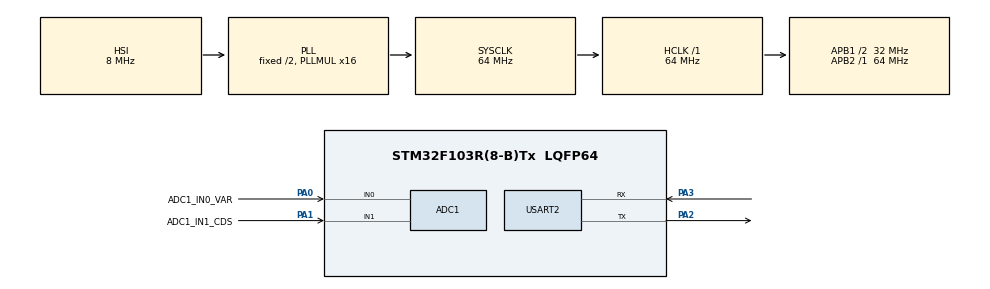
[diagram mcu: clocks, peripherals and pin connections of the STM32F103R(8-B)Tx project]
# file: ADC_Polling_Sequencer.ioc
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ADC1.Channel-0\#ChannelRegularConversion=ADC_CHANNEL_0
ADC1.Channel-1\#ChannelRegularConversion=ADC_CHANNEL_0
ADC1.ContinuousConvMode=ENABLE
ADC1.NbrOfConversion=2
ADC1.NbrOfConversionFlag=1
ADC1.Rank-0\#ChannelRegularConversion=1
ADC1.Rank-1\#ChannelRegularConversion=2
ADC1.SamplingTime-0\#ChannelRegularConversion=ADC_SAMPLETIME_13CYCLES_5
ADC1.SamplingTime-1\#ChannelRegularConversion=ADC_SAMPLETIME_13CYCLES_5
ADC1.master=1
Mcu.Family=STM32F1
Mcu.Name=STM32F103R(8-B)Tx
Mcu.Package=LQFP64
NVIC.PriorityGroup=NVIC_PRIORITYGROUP_4
PA0-WKUP.GPIO_Label=ADC1_IN0_VAR
PA0-WKUP.Signal=ADCx_IN0
PA1.GPIO_Label=ADC1_IN1_CDS
PA1.Signal=ADCx_IN1
PA13.Mode=Serial_Wire
PA13.Signal=SYS_JTMS-SWDIO
PA14.Mode=Serial_Wire
PA14.Signal=SYS_JTCK-SWCLK
PA2.Mode=Asynchronous
PA2.Signal=USART2_TX
PA3.Mode=Asynchronous
PA3.Signal=USART2_RX
ProjectManager.HeapSize=0x200
ProjectManager.StackSize=0x400
ProjectManager.TargetToolchain=STM32CubeIDE
RCC.ADCPresc=RCC_ADCPCLK2_DIV8
RCC.AHBFreq_Value=64000000
RCC.APB1CLKDivider=RCC_HCLK_DIV2
RCC.APB1Freq_Value=32000000
RCC.APB1TimFreq_Value=64000000
RCC.APB2Freq_Value=64000000
RCC.APB2TimFreq_Value=64000000
RCC.HCLKFreq_Value=64000000
RCC.PLLMUL=RCC_PLL_MUL16
RCC.SYSCLKFreq_VALUE=64000000
RCC.SYSCLKSource=RCC_SYSCLKSOURCE_PLLCLK
RCC.USBFreq_Value=64000000
SH.ADCx_IN0.0=ADC1_IN0,IN0
SH.ADCx_IN1.0=ADC1_IN1,IN1
USART2.VirtualMode=VM_ASYNC
board=custom

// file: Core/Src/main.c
/* USER CODE BEGIN Header */
/**
  ******************************************************************************
  * @file           : main.c
  * @brief          : Main program body
  ******************************************************************************
  * @attention
  *
  * <h2><center>&copy; Copyright (c) 2021 STMicroelectronics.
  * All rights reserved.</center></h2>
  *
  * This software component is licensed by ST under BSD 3-Clause license,
  * the "License"; You may not use this file except in compliance with the
  * License. You may obtain a copy of the License at:
  *                        opensource.org/licenses/BSD-3-Clause
  *
  ******************************************************************************
  */
/* USER CODE END Header */
#include "main.h"
#include <stdio.h>

ADC_HandleTypeDef hadc1;

UART_HandleTypeDef huart2;

void SystemClock_Config(void);
static void MX_GPIO_Init(void);
static void MX_ADC1_Init(void);
static void MX_USART2_UART_Init(void);

/* USER CODE BEGIN 0 */
#ifdef __GNUC__
#define PUTCHAR_PROTOTYPE int __io_putchar(int ch)
#else
#define PUTCHAR_PROTOTYPE int fputc(int ch,FILE *f)
#endif

PUTCHAR_PROTOTYPE
{
	if (ch == '\n')
		HAL_UART_Transmit (&huart2, (uint8_t*) "\r", 1, 0xFFFF);
	HAL_UART_Transmit (&huart2, (uint8_t*) &ch, 1, 0xFFFF);
	return ch;
}
/* USER CODE END 0 */

int main(void)
{

  /* MCU Configuration--------------------------------------------------------*/

  /* Reset of all peripherals, Initializes the Flash interface and the Systick. */
  HAL_Init();

  /* Configure the system clock */
  SystemClock_Config();

  /* Initialize all configured peripherals */
  MX_GPIO_Init();
  MX_ADC1_Init();
  MX_USART2_UART_Init();

  /* Infinite loop */
  /* USER CODE BEGIN WHILE */
  uint16_t uwADCxConvertedValue[2];

  if (HAL_ADCEx_Calibration_Start(&hadc1) != HAL_OK)
  {
	  Error_Handler();
  }

  while (1)
  {
    /* USER CODE END WHILE */
	  if (HAL_ADC_Start (&hadc1) != HAL_OK)
	  {
		  Error_Handler();
	  }

	  for (uint8_t i = 0 ; i < 2 ; i++)
	  {
		  HAL_ADC_PollForConversion(&hadc1, 100);
		  if ((HAL_ADC_GetState(&hadc1) & HAL_ADC_STATE_REG_EOC) == HAL_ADC_STATE_REG_EOC)
		  {
			  uwADCxConvertedValue[i] = HAL_ADC_GetValue(&hadc1);
		  }

	  }
	  HAL_ADC_Stop (&hadc1);
    /* USER CODE BEGIN 3 */
	  printf("VAR=%4d, CDS=%4d\n", uwADCxConvertedValue[0], uwADCxConvertedValue[1]);
	  HAL_Delay(100);
  }
  /* USER CODE END 3 */
}

void SystemClock_Config(void)
{
  RCC_OscInitTypeDef RCC_OscInitStruct = {0};
  RCC_ClkInitTypeDef RCC_ClkInitStruct = {0};
  RCC_PeriphCLKInitTypeDef PeriphClkInit = {0};

  /** Initializes the RCC Oscillators according to the specified parameters
  * in the RCC_OscInitTypeDef structure.
  */
  RCC_OscInitStruct.OscillatorType = RCC_OSCILLATORTYPE_HSI;
  RCC_OscInitStruct.HSIState = RCC_HSI_ON;
  RCC_OscInitStruct.HSICalibrationValue = RCC_HSICALIBRATION_DEFAULT;
  RCC_OscInitStruct.PLL.PLLState = RCC_PLL_ON;
  RCC_OscInitStruct.PLL.PLLSource = RCC_PLLSOURCE_HSI_DIV2;
  RCC_OscInitStruct.PLL.PLLMUL = RCC_PLL_MUL16;
  if (HAL_RCC_OscConfig(&RCC_OscInitStruct) != HAL_OK)
  {
    Error_Handler();
  }
  /** Initializes the CPU, AHB and APB buses clocks
  */
  RCC_ClkInitStruct.ClockType = RCC_CLOCKTYPE_HCLK|RCC_CLOCKTYPE_SYSCLK
                              |RCC_CLOCKTYPE_PCLK1|RCC_CLOCKTYPE_PCLK2;
  RCC_ClkInitStruct.SYSCLKSource = RCC_SYSCLKSOURCE_PLLCLK;
  RCC_ClkInitStruct.AHBCLKDivider = RCC_SYSCLK_DIV1;
  RCC_ClkInitStruct.APB1CLKDivider = RCC_HCLK_DIV2;
  RCC_ClkInitStruct.APB2CLKDivider = RCC_HCLK_DIV1;

  if (HAL_RCC_ClockConfig(&RCC_ClkInitStruct, FLASH_LATENCY_2) != HAL_OK)
  {
    Error_Handler();
  }
  PeriphClkInit.PeriphClockSelection = RCC_PERIPHCLK_ADC;
  PeriphClkInit.AdcClockSelection = RCC_ADCPCLK2_DIV8;
  if (HAL_RCCEx_PeriphCLKConfig(&PeriphClkInit) != HAL_OK)
  {
    Error_Handler();
  }
}

static void MX_ADC1_Init(void)
{

  ADC_ChannelConfTypeDef sConfig = {0};

  /** Common config
  */
  hadc1.Instance = ADC1;
  hadc1.Init.ScanConvMode = ADC_SCAN_ENABLE;
  hadc1.Init.ContinuousConvMode = ENABLE;
  hadc1.Init.DiscontinuousConvMode = DISABLE;
  hadc1.Init.ExternalTrigConv = ADC_SOFTWARE_START;
  hadc1.Init.DataAlign = ADC_DATAALIGN_RIGHT;
  hadc1.Init.NbrOfConversion = 2;
  if (HAL_ADC_Init(&hadc1) != HAL_OK)
  {
    Error_Handler();
  }
  /** Configure Regular Channel
  */
  sConfig.Channel = ADC_CHANNEL_0;
  sConfig.Rank = ADC_REGULAR_RANK_1;
  sConfig.SamplingTime = ADC_SAMPLETIME_13CYCLES_5;
  if (HAL_ADC_ConfigChannel(&hadc1, &sConfig) != HAL_OK)
  {
    Error_Handler();
  }
  /** Configure Regular Channel
  */
  sConfig.Rank = ADC_REGULAR_RANK_2;
  if (HAL_ADC_ConfigChannel(&hadc1, &sConfig) != HAL_OK)
  {
    Error_Handler();
  }

}

static void MX_USART2_UART_Init(void)
{

  huart2.Instance = USART2;
  huart2.Init.BaudRate = 115200;
  huart2.Init.WordLength = UART_WORDLENGTH_8B;
  huart2.Init.StopBits = UART_STOPBITS_1;
  huart2.Init.Parity = UART_PARITY_NONE;
  huart2.Init.Mode = UART_MODE_TX_RX;
  huart2.Init.HwFlowCtl = UART_HWCONTROL_NONE;
  huart2.Init.OverSampling = UART_OVERSAMPLING_16;
  if (HAL_UART_Init(&huart2) != HAL_OK)
  {
    Error_Handler();
  }

}

static void MX_GPIO_Init(void)
{

  /* GPIO Ports Clock Enable */
  __HAL_RCC_GPIOA_CLK_ENABLE();

}

void Error_Handler(void)
{
  __disable_irq();
  while (1)
  {
  }
}

/************************ (C) COPYRIGHT STMicroelectronics *****END OF FILE****/
